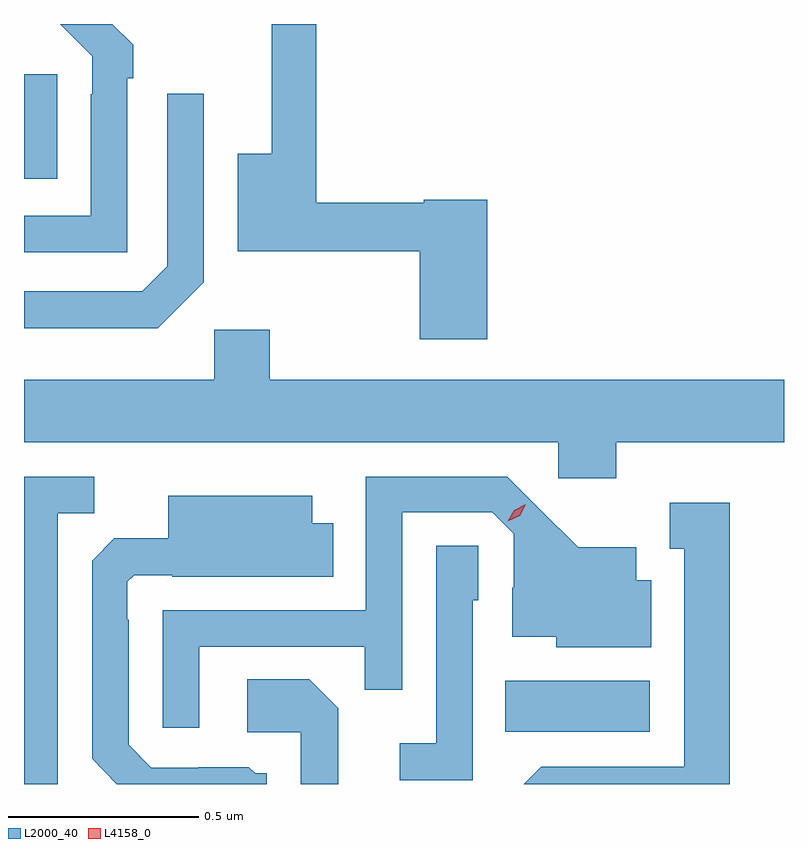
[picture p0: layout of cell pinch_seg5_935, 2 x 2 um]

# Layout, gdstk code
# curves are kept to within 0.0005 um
import gdstk
lib = gdstk.Library(unit=1e-6, precision=1e-09)
def R(c, l, rs):  # rectangles x0, y0, x1, y1
    for r in rs: c.add(gdstk.rectangle(r[:2], r[2:], *l))
def P(c, l, *ps):  # polygons
    for p in ps: c.add(gdstk.Polygon(p, *l))
L2000_40 = (2000, 40)
L4158_0 = (4158, 0)

pinch_seg5_935 = lib.new_cell('pinch_seg5_935')
R(pinch_seg5_935, L2000_40, [(708.352,907.946,708.733,908.08), (707.086,909.401,707.173,909.676)])
P(pinch_seg5_935, L2000_40, [(708.305,909.346),(708.138,909.346),(708.138,909.338),(707.855,909.338),(707.855,909.808),(707.738,909.808),(707.738,909.466),(707.648,909.466),(707.648,909.21),(708.127,909.21),(708.127,908.979),(708.305,908.979)],
  [(707.358,909.665),(707.373,909.665),(707.373,909.753),(707.318,909.808),(707.181,909.808),(707.265,909.723),(707.265,909.623),(707.262,909.623),(707.262,909.303),(707.086,909.303),(707.086,909.207),(707.358,909.207)],
  [(707.559,909.129),(707.559,909.625),(707.463,909.625),(707.463,909.171),(707.397,909.105),(707.086,909.105),(707.086,909.008),(707.438,909.008)],
  [(708.644,908.708),(709.086,908.708),(709.086,908.872),(707.733,908.872),(707.733,909.004),(707.586,909.004),(707.586,908.872),(707.086,908.872),(707.086,908.708),(708.492,908.708),(708.492,908.613),(708.644,908.613)],
  [(707.547,908.169),(707.983,908.169),(707.983,908.056),(708.081,908.056),(708.081,908.523),(708.318,908.523),(708.375,908.466),(708.375,908.324),(708.371,908.324),(708.371,908.195),(708.486,908.195),(708.486,908.168),(708.736,908.168),(708.736,908.344),(708.697,908.344),(708.697,908.431),(708.545,908.431),(708.358,908.616),(707.985,908.616),(707.985,908.265),(707.451,908.265),(707.451,907.956),(707.547,907.956)],
  [(707.175,908.521),(707.271,908.521),(707.271,908.616),(707.086,908.616),(707.086,907.808),(707.175,907.808)],
  [(707.725,907.836),(707.694,907.836),(707.678,907.852),(707.544,907.852),(707.544,907.851),(707.421,907.851),(707.361,907.911),(707.361,908.24),(707.358,908.24),(707.358,908.34),(707.376,908.358),(707.476,908.358),(707.476,908.354),(707.9,908.354),(707.9,908.494),(707.845,908.494),(707.845,908.566),(707.465,908.566),(707.465,908.455),(707.324,908.455),(707.265,908.396),(707.265,907.874),(707.33,907.808),(707.725,907.808)],
  [(708.943,908.548),(708.785,908.548),(708.785,908.427),(708.824,908.427),(708.824,907.854),(708.447,907.854),(708.401,907.808),(708.943,907.808)],
  [(708.267,908.292),(708.282,908.292),(708.282,908.435),(708.171,908.435),(708.171,907.915),(708.075,907.915),(708.075,907.818),(708.267,907.818)],
  [(707.913,908.008),(707.837,908.084),(707.673,908.084),(707.673,907.944),(707.814,907.944),(707.814,907.808),(707.913,907.808)])
P(pinch_seg5_935, L4158_0, [(708.359,908.499),(708.359,908.499),(708.376,908.529),(708.407,908.544),(708.407,908.544),(708.407,908.544),(708.39,908.514),(708.359,908.499)])

lib.write_gds('pinch_seg5_935.gds')
